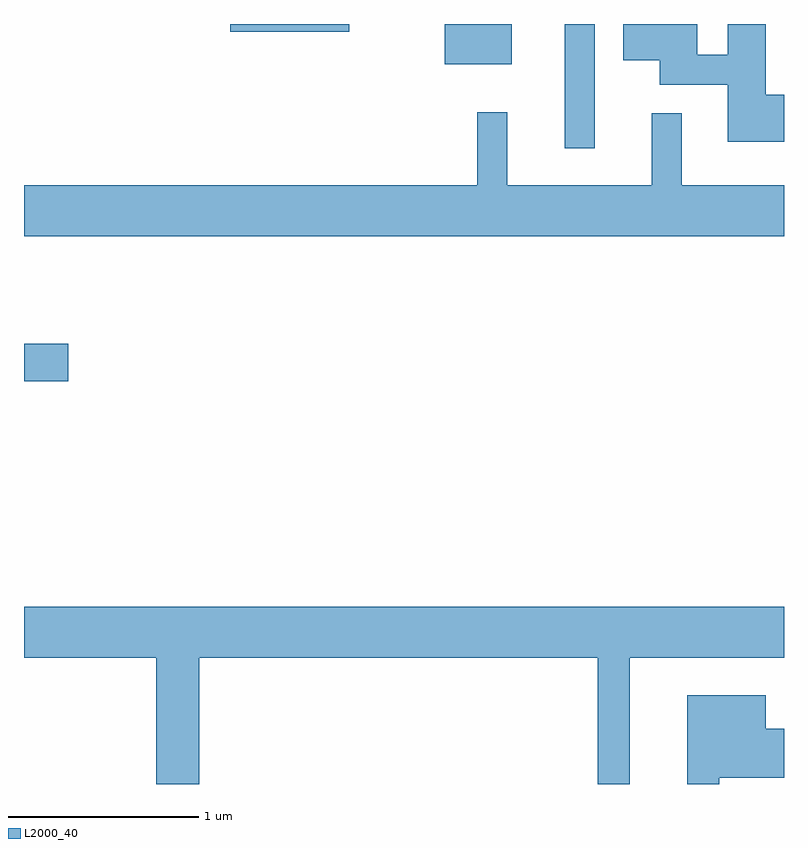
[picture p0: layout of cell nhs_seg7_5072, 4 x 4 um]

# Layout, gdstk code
import gdstk
lib = gdstk.Library(unit=1e-6, precision=1e-09)
def R(c, l, rs):  # rectangles x0, y0, x1, y1
    for r in rs: c.add(gdstk.rectangle(r[:2], r[2:], *l))
def P(c, l, *ps):  # polygons
    for p in ps: c.add(gdstk.Polygon(p, *l))
L2000_40 = (2000, 40)

nhs_seg7_5072 = lib.new_cell('nhs_seg7_5072')
R(nhs_seg7_5072, L2000_40, [(339.611,1782.371,339.844,1782.569), (342.456,1783.598,342.614,1784.252), (341.826,1784.041,342.179,1784.252), (340.696,1784.211,341.324,1784.252)])
P(nhs_seg7_5072, L2000_40, [(343.611,1783.879),(343.514,1783.879),(343.514,1784.252),(343.316,1784.252),(343.316,1784.089),(343.154,1784.089),(343.154,1784.252),(342.766,1784.252),(342.766,1784.061),(342.956,1784.061),(342.956,1783.931),(343.316,1783.931),(343.316,1783.631),(343.611,1783.631)],
  [(343.611,1783.404),(343.074,1783.404),(343.074,1783.783),(342.916,1783.783),(342.916,1783.404),(342.154,1783.404),(342.154,1783.788),(341.996,1783.788),(341.996,1783.404),(339.611,1783.404),(339.611,1783.136),(343.611,1783.136)],
  [(340.534,1780.916),(342.631,1780.916),(342.631,1780.252),(342.799,1780.252),(342.799,1780.916),(343.611,1780.916),(343.611,1781.184),(339.611,1781.184),(339.611,1780.916),(340.306,1780.916),(340.306,1780.252),(340.534,1780.252)],
  [(343.269,1780.286),(343.611,1780.286),(343.611,1780.544),(343.514,1780.544),(343.514,1780.719),(343.101,1780.719),(343.101,1780.252),(343.269,1780.252)])

lib.write_gds('nhs_seg7_5072.gds')
